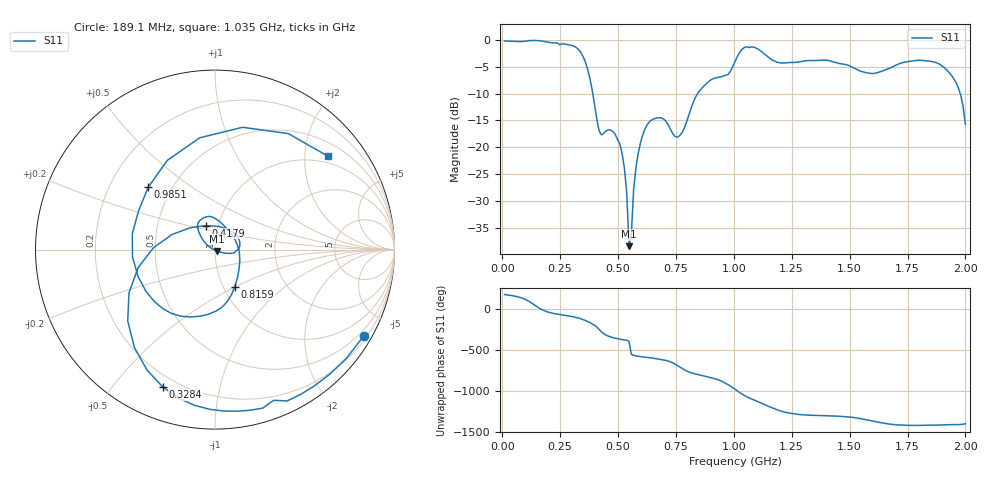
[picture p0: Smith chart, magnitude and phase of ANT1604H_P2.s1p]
!Created with skrf (http://scikit-rf.org).
# Hz S RI R 50.0
!freq ReS11 ImS11
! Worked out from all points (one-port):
!   201 points, 10 MHz to 2 GHz, reference 50 ohm
!   lowest |S11| = -38.4 dB at 547.3 MHz (marker M1), VSWR 1.02, Z = 51 - j0.736 ohm
!   |S11| at or under -10 dB: 390.7 MHz to 843.5 MHz (452.8 MHz wide, 73.4 % of centre); 1.978 GHz to end of sweep
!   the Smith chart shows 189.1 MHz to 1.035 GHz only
!   S11 on the Smith chart (normalised r, x): 189.1 MHz: 0.31, -3.69; 328.4 MHz: 0.15, -0.68; 417.9 MHz: 0.87, +0.24; 816 MHz: 1.13, -0.49; 985.1 MHz: 0.37, +0.35; 1.035 GHz: 0.82, +2.55
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1e7  -0.9747 0.0704
7.965e7  -0.7145 0.648
1.1945e8  0.0766 0.9831
1.493e8  0.8709 0.465
1.891e8  0.8289 -0.4813
2.5875e8  0.2657 -0.8833
3.284e8  -0.2913 -0.7649
3.682e8  -0.4793 -0.241
4.1795e8  -0.05 0.1336
5.075e8  0.1061 -0.0185
5.3735e8  0.0347 -0.0153
5.473e8  0.00959 -0.00722
5.7715e8  -0.0536 0.0358
6.1695e8  -0.0956 0.115
7.5625e8  0.1109 0.0565
8.1595e8  0.1104 -0.206
9.1545e8  -0.291 -0.3286
9.851e8  -0.3721 0.3475
1.005e9  -0.0849 0.6231
1.03485e9  0.6297 0.52
1.07465e9  0.8176 -0.2704
1.1244e9  0.1375 -0.7529
1.1841e9  -0.5421 -0.3098
1.25375e9  -0.5789 0.2142
1.5025e9  -0.2578 0.5089
1.75125e9  0.6027 0.177
1.93035e9  0.4508 0.2057
2e9  0.1325 0.0953
